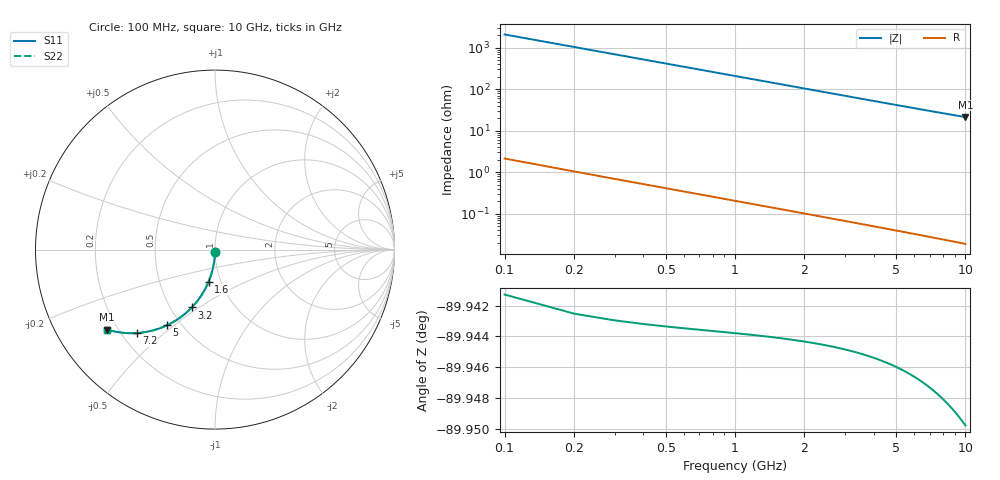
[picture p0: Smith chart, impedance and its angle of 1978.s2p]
# Hz S RI R 50.00
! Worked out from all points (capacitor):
!   100 points, 100 MHz to 10 GHz, reference 50 ohm
!   read as one part in shunt: C = 763 fF near 100 MHz
!   lowest |Z| = 21.3 ohm at 10 GHz (marker M1)
!   S11 on the Smith chart (normalised r, x): 100 MHz: 1.00, -0.02; 1.6 GHz: 0.88, -0.32; 3.2 GHz: 0.64, -0.47; 5 GHz: 0.42, -0.47; 7.2 GHz: 0.26, -0.41; 10 GHz: 0.16, -0.32
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1e8  -7.65e-05 -0.0116  0.9998 -0.0124  0.9998 -0.0124  -7.65e-05 -0.0116
2e8  -0.000517 -0.0231  0.9993 -0.0248  0.9993 -0.0248  -0.000517 -0.0231
3e8  -0.00124 -0.0347  0.9986 -0.0371  0.9986 -0.0371  -0.00124 -0.0347
4e8  -0.00226 -0.0462  0.9976 -0.0494  0.9976 -0.0494  -0.00226 -0.0462
5e8  -0.00355 -0.0576  0.9963 -0.0617  0.9963 -0.0617  -0.00355 -0.0576
6e8  -0.00513 -0.069  0.9947 -0.074  0.9947 -0.074  -0.00513 -0.069
7e8  -0.00698 -0.0804  0.9928 -0.0862  0.9928 -0.0862  -0.00698 -0.0804
9e8  -0.0115 -0.1029  0.9883 -0.1103  0.9883 -0.1103  -0.0115 -0.1029
1.2e9  -0.0203 -0.136  0.9795 -0.1459  0.9795 -0.1459  -0.0203 -0.136
1.6e9  -0.0356 -0.1785  0.9641 -0.1917  0.9641 -0.1917  -0.0356 -0.1785
1.8e9  -0.0447 -0.1989  0.9551 -0.2138  0.9551 -0.2138  -0.0447 -0.1989
2.4e9  -0.0769 -0.2563  0.9227 -0.2761  0.9227 -0.2761  -0.0769 -0.2563
3.2e9  -0.1293 -0.3221  0.8701 -0.3486  0.8701 -0.3486  -0.1293 -0.3221
3.4e9  -0.1437 -0.3365  0.8557 -0.3647  0.8557 -0.3647  -0.1437 -0.3365
4.2e9  -0.2045 -0.3857  0.7947 -0.4206  0.7947 -0.4206  -0.2045 -0.3857
5e9  -0.2679 -0.4217  0.731 -0.4636  0.731 -0.4636  -0.2679 -0.4217
5.1e9  -0.2759 -0.4254  0.723 -0.4681  0.723 -0.4681  -0.2759 -0.4254
5.9e9  -0.3387 -0.4482  0.6599 -0.4978  0.6599 -0.4978  -0.3387 -0.4482
6.7e9  -0.3989 -0.4611  0.5994 -0.5176  0.5994 -0.5176  -0.3989 -0.4611
7.2e9  -0.4346 -0.4648  0.5634 -0.5258  0.5634 -0.5258  -0.4346 -0.4648
8.4e9  -0.5131 -0.4634  0.4842 -0.5351  0.4842 -0.5351  -0.5131 -0.4634
1e10  -0.6013 -0.4456  0.3948 -0.5318  0.3948 -0.5318  -0.6013 -0.4456
